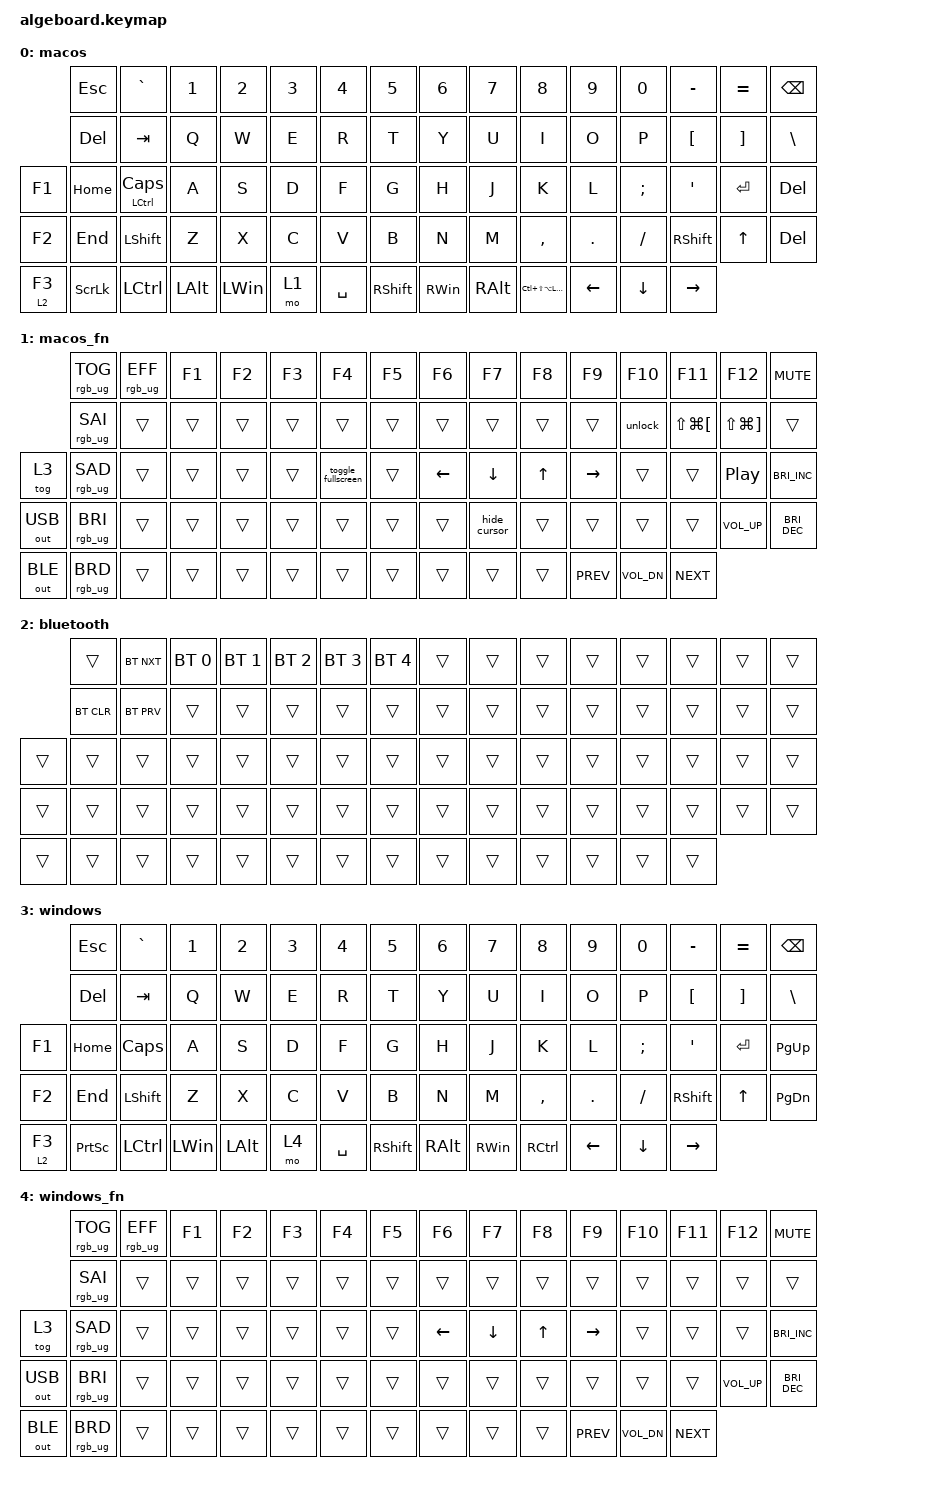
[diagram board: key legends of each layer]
/*
 * Copyright (c) 2020 The ZMK Contributors
 *
 * SPDX-License-Identifier: MIT
 */

#include <behaviors.dtsi>
#include <dt-bindings/zmk/bt.h>
#include <dt-bindings/zmk/keys.h>
#include <dt-bindings/zmk/outputs.h>
#include <dt-bindings/zmk/rgb.h>

/ {
    macros {
        unlock: unlock_screen {
            compatible = "zmk,behavior-macro";
            #binding-cells = <0>;
            bindings = <&kp U &kp F &kp MINUS &kp T &kp P &kp N4 &kp ENTER>;
            label = "UNLOCK_SCREEN";
            tap-ms = <10>;
        };

        toggle_fullscreen: toggle_fullscreen {
            compatible = "zmk,behavior-macro";
            #binding-cells = <0>;
            bindings = <&kp LC(LG(F))>;
            label = "TOGGLE_FULLSCREEN";
        };

        hide_cursor: hide_cursor {
            compatible = "zmk,behavior-macro";
            #binding-cells = <0>;
            bindings = <&kp LC(LS(LA(LG(M))))>;
            label = "HIDE_CURSOR";
        };
    };

    keymap {
        compatible = "zmk,keymap";

        macos {
            bindings = <
          &kp ESC         &kp GRAVE       &kp N1    &kp N2    &kp N3  &kp N4     &kp N5      &kp N6    &kp N7    &kp N8                &kp N9    &kp N0     &kp MINUS   &kp EQUAL  &kp BACKSPACE
          &kp DEL         &kp TAB         &kp Q     &kp W     &kp E   &kp R      &kp T       &kp Y     &kp U     &kp I                 &kp O     &kp P      &kp LBKT    &kp RBKT   &kp BACKSLASH
&kp F1    &kp HOME        &mt LCTRL CAPS  &kp A     &kp S     &kp D   &kp F      &kp G       &kp H     &kp J     &kp K                 &kp L     &kp SEMI   &kp SQT     &kp ENTER  &kp DEL
&kp F2    &kp END         &kp LSHIFT      &kp Z     &kp X     &kp C   &kp V      &kp B       &kp N     &kp M     &kp COMMA             &kp DOT   &kp SLASH  &kp RSHIFT  &kp UP     &kp DEL
&lt 2 F3  &kp SCROLLLOCK  &kp LCTRL       &kp LALT  &kp LWIN  &mo 1   &kp SPACE  &kp RSHIFT  &kp RWIN  &kp RALT  &kp LC(LS(LA(LGUI)))  &kp LEFT  &kp DOWN   &kp RIGHT
            >;
        };

        macos_fn {
            bindings = <
              &rgb_ug RGB_TOG  &rgb_ug RGB_EFF  &kp F1  &kp F2  &kp F3  &kp F4              &kp F5  &kp F6    &kp F7        &kp F8  &kp F9      &kp F10       &kp F11                   &kp F12                    &kp C_MUTE
              &rgb_ug RGB_SAI  &trans           &trans  &trans  &trans  &trans              &trans  &trans    &trans        &trans  &trans      &unlock       &kp LS(LG(LEFT_BRACKET))  &kp LS(LG(RIGHT_BRACKET))  &trans
&tog 3        &rgb_ug RGB_SAD  &trans           &trans  &trans  &trans  &toggle_fullscreen  &trans  &kp LEFT  &kp DOWN      &kp UP  &kp RIGHT   &trans        &trans                    &kp C_PLAY_PAUSE           &kp C_BRI_INC
&out OUT_USB  &rgb_ug RGB_BRI  &trans           &trans  &trans  &trans  &trans              &trans  &trans    &hide_cursor  &trans  &trans      &trans        &trans                    &kp C_VOL_UP               &kp C_BRI_DEC
&out OUT_BLE  &rgb_ug RGB_BRD  &trans           &trans  &trans  &trans  &trans              &trans  &trans    &trans        &trans  &kp C_PREV  &kp C_VOL_DN  &kp C_NEXT
            >;
        };

        bluetooth {
            bindings = <
        &trans      &bt BT_NXT  &bt BT_SEL 0  &bt BT_SEL 1  &bt BT_SEL 2  &bt BT_SEL 3  &bt BT_SEL 4  &trans  &trans  &trans  &trans  &trans  &trans  &trans  &trans
        &bt BT_CLR  &bt BT_PRV  &trans        &trans        &trans        &trans        &trans        &trans  &trans  &trans  &trans  &trans  &trans  &trans  &trans
&trans  &trans      &trans      &trans        &trans        &trans        &trans        &trans        &trans  &trans  &trans  &trans  &trans  &trans  &trans  &trans
&trans  &trans      &trans      &trans        &trans        &trans        &trans        &trans        &trans  &trans  &trans  &trans  &trans  &trans  &trans  &trans
&trans  &trans      &trans      &trans        &trans        &trans        &trans        &trans        &trans  &trans  &trans  &trans  &trans  &trans
            >;
        };

        windows {
            bindings = <
          &kp ESC          &kp GRAVE     &kp N1    &kp N2    &kp N3  &kp N4     &kp N5      &kp N6    &kp N7    &kp N8     &kp N9    &kp N0     &kp MINUS   &kp EQUAL  &kp BACKSPACE
          &kp DEL          &kp TAB       &kp Q     &kp W     &kp E   &kp R      &kp T       &kp Y     &kp U     &kp I      &kp O     &kp P      &kp LBKT    &kp RBKT   &kp BACKSLASH
&kp F1    &kp HOME         &kp CAPSLOCK  &kp A     &kp S     &kp D   &kp F      &kp G       &kp H     &kp J     &kp K      &kp L     &kp SEMI   &kp SQT     &kp ENTER  &kp PG_UP
&kp F2    &kp END          &kp LSHIFT    &kp Z     &kp X     &kp C   &kp V      &kp B       &kp N     &kp M     &kp COMMA  &kp DOT   &kp SLASH  &kp RSHIFT  &kp UP     &kp PG_DN
&lt 2 F3  &kp PRINTSCREEN  &kp LCTRL     &kp LWIN  &kp LALT  &mo 4   &kp SPACE  &kp RSHIFT  &kp RALT  &kp RWIN  &kp RCTRL  &kp LEFT  &kp DOWN   &kp RIGHT
            >;
        };

        windows_fn {
            bindings = <
              &rgb_ug RGB_TOG  &rgb_ug RGB_EFF  &kp F1  &kp F2  &kp F3  &kp F4  &kp F5  &kp F6    &kp F7    &kp F8  &kp F9      &kp F10       &kp F11     &kp F12       &kp C_MUTE
              &rgb_ug RGB_SAI  &trans           &trans  &trans  &trans  &trans  &trans  &trans    &trans    &trans  &trans      &trans        &trans      &trans        &trans
&tog 3        &rgb_ug RGB_SAD  &trans           &trans  &trans  &trans  &trans  &trans  &kp LEFT  &kp DOWN  &kp UP  &kp RIGHT   &trans        &trans      &trans        &kp C_BRI_INC
&out OUT_USB  &rgb_ug RGB_BRI  &trans           &trans  &trans  &trans  &trans  &trans  &trans    &trans    &trans  &trans      &trans        &trans      &kp C_VOL_UP  &kp C_BRI_DEC
&out OUT_BLE  &rgb_ug RGB_BRD  &trans           &trans  &trans  &trans  &trans  &trans  &trans    &trans    &trans  &kp C_PREV  &kp C_VOL_DN  &kp C_NEXT
            >;
        };
    };
};
